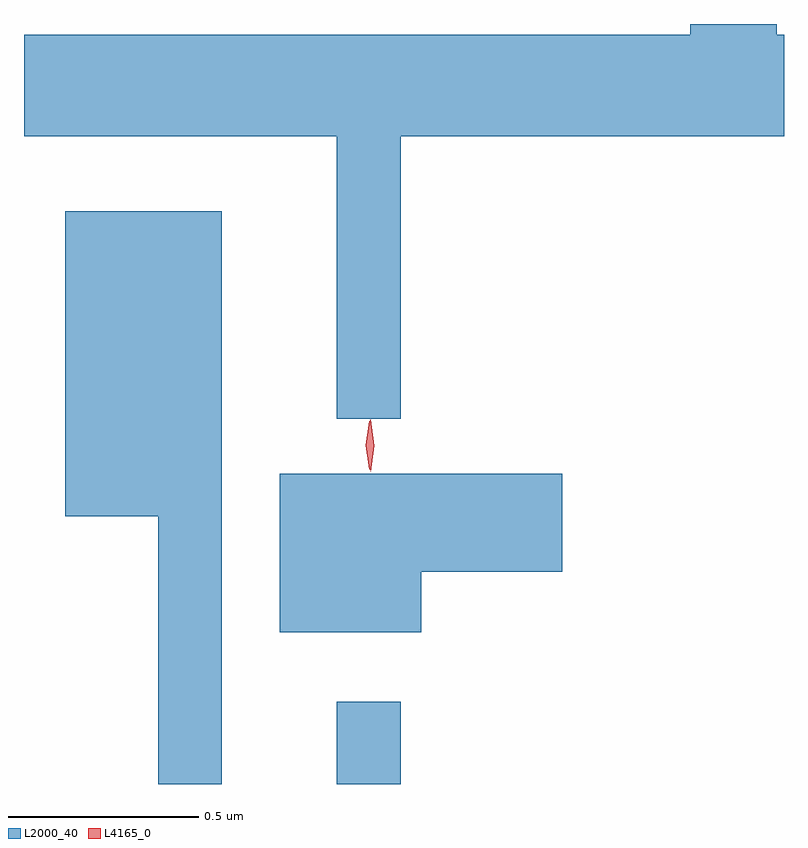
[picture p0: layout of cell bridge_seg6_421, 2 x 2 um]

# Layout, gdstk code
import gdstk
lib = gdstk.Library(unit=1e-6, precision=1e-09)
def R(c, l, rs):  # rectangles x0, y0, x1, y1
    for r in rs: c.add(gdstk.rectangle(r[:2], r[2:], *l))
def P(c, l, *ps):  # polygons
    for p in ps: c.add(gdstk.Polygon(p, *l))
L2000_40 = (2000, 40)
L4165_0 = (4165, 0)

bridge_seg6_421 = lib.new_cell('bridge_seg6_421')
R(bridge_seg6_421, L2000_40, [(922.711,1641.572,922.879,1641.788)])
P(bridge_seg6_421, L2000_40, [(922.879,1643.276),(923.888,1643.276),(923.888,1643.544),(923.869,1643.544),(923.869,1643.572),(923.641,1643.572),(923.641,1643.544),(921.888,1643.544),(921.888,1643.276),(922.711,1643.276),(922.711,1642.533),(922.879,1642.533)],
  [(922.409,1643.079),(921.996,1643.079),(921.996,1642.276),(922.241,1642.276),(922.241,1641.572),(922.409,1641.572)],
  [(922.934,1642.131),(923.304,1642.131),(923.304,1642.389),(922.561,1642.389),(922.561,1641.971),(922.934,1641.971)])
P(bridge_seg6_421, L4165_0, [(922.8,1642.394),(922.8,1642.394),(922.79,1642.462),(922.799,1642.53),(922.8,1642.53),(922.8,1642.53),(922.81,1642.462),(922.801,1642.394)],
  [(922.797,1642.4),(922.797,1642.4),(922.787,1642.463),(922.797,1642.526),(922.797,1642.527),(922.798,1642.526),(922.807,1642.463),(922.798,1642.4)])

lib.write_gds('bridge_seg6_421.gds')
